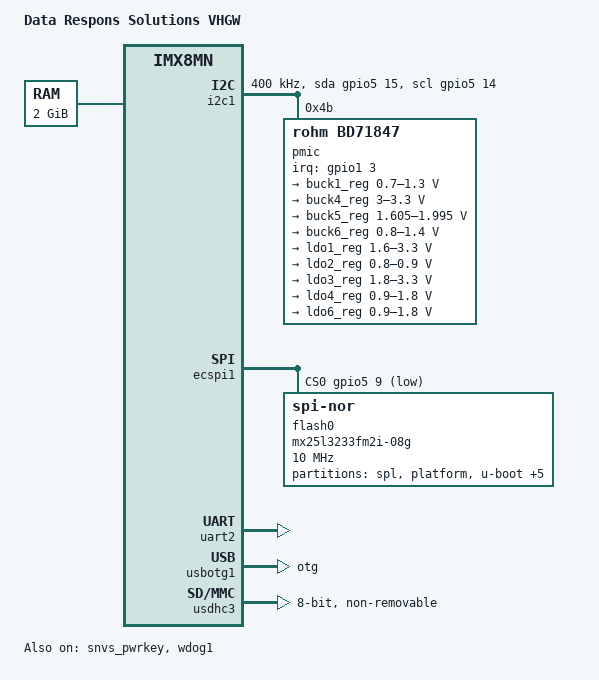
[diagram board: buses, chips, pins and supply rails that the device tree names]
// SPDX-License-Identifier: GPL-2.0+
 /*
  * Copyright 2020 NXP
  */

/dts-v1/;

#include <dt-bindings/interrupt-controller/irq.h>
#include "imx8mn.dtsi"

/ {
	model = "Data Respons Solutions VHGW";
	compatible = "drs,vhgw", "fsl,imx8mn";

	aliases {
		spi0 = &ecspi1;
	};

	chosen {
		stdout-path = &uart2;
	};

	memory@40000000 {
		device_type = "memory";
		reg = <0x0 0x40000000 0 0x80000000>;
	};
};

&A53_0 {
	cpu-supply = <&buck1_reg>;
};

&A53_1 {
	cpu-supply = <&buck1_reg>;
};

&A53_2 {
	cpu-supply = <&buck1_reg>;
};

&A53_3 {
	cpu-supply = <&buck1_reg>;
};

&i2c1 {
	clock-frequency = <400000>;
	pinctrl-names = "default", "gpio";
	pinctrl-0 = <&pinctrl_i2c1>;
	pinctrl-1 = <&pinctrl_i2c1_gpio>;
	scl-gpios = <&gpio5 14 GPIO_ACTIVE_HIGH>;
	sda-gpios = <&gpio5 15 GPIO_ACTIVE_HIGH>;
	status = "okay";

	pmic: bd71850@4b {
		compatible = "rohm,bd71847";
		reg = <0x4b>;
		pinctrl-names = "default";
		pinctrl-0 = <&pinctrl_pmic>;
		interrupt-parent = <&gpio1>;
		interrupts = <3 IRQ_TYPE_EDGE_FALLING>;
		rohm,reset-snvs-powered;

		#clock-cells = <0>;
		clocks = <&osc_32k 0>;
		clock-output-names = "clk-32k-out";

		regulators {
			buck1_reg: BUCK1 {
				regulator-name = "buck1";
				regulator-min-microvolt = <700000>;
				regulator-max-microvolt = <1300000>;
				regulator-boot-on;
				regulator-always-on;
				regulator-ramp-delay = <1250>;
			};
			/*
			buck2_reg: BUCK2 {
				regulator-name = "buck2";
				regulator-min-microvolt = <700000>;
				regulator-max-microvolt = <1300000>;
				regulator-boot-on;
				regulator-always-on;
				regulator-ramp-delay = <1250>;
			};

			buck3_reg: BUCK3 {
				// BUCK5 in datasheet
				regulator-name = "buck3";
				regulator-min-microvolt = <700000>;
				regulator-max-microvolt = <1350000>;
			};
			 */
			buck4_reg: BUCK4 {
				// BUCK6 in datasheet
				regulator-name = "buck4";
				regulator-min-microvolt = <3000000>;
				regulator-max-microvolt = <3300000>;
				regulator-boot-on;
				regulator-always-on;
			};

			buck5_reg: BUCK5 {
				// BUCK7 in datasheet
				regulator-name = "buck5";
				regulator-min-microvolt = <1605000>;
				regulator-max-microvolt = <1995000>;
				regulator-boot-on;
				regulator-always-on;
			};

			buck6_reg: BUCK6 {
				// BUCK8 in datasheet
				regulator-name = "buck6";
				regulator-min-microvolt = <800000>;
				regulator-max-microvolt = <1400000>;
				regulator-boot-on;
				regulator-always-on;
			};

			ldo1_reg: LDO1 {
				regulator-name = "ldo1";
				regulator-min-microvolt = <1600000>;
				regulator-max-microvolt = <3300000>;
				regulator-boot-on;
				regulator-always-on;
			};

			ldo2_reg: LDO2 {
				regulator-name = "ldo2";
				regulator-min-microvolt = <800000>;
				regulator-max-microvolt = <900000>;
				regulator-boot-on;
				regulator-always-on;
			};

			ldo3_reg: LDO3 {
				regulator-name = "ldo3";
				regulator-min-microvolt = <1800000>;
				regulator-max-microvolt = <3300000>;
				regulator-boot-on;
				regulator-always-on;
			};

			ldo4_reg: LDO4 {
				regulator-name = "ldo4";
				regulator-min-microvolt = <900000>;
				regulator-max-microvolt = <1800000>;
				regulator-boot-on;
				regulator-always-on;
			};

			ldo6_reg: LDO6 {
				regulator-name = "ldo6";
				regulator-min-microvolt = <900000>;
				regulator-max-microvolt = <1800000>;
				regulator-boot-on;
				regulator-always-on;
			};
		};
	};
};

&ecspi1 {
	cs-gpios = <&gpio5 9 GPIO_ACTIVE_LOW>;
	pinctrl-names = "default";
	pinctrl-0 = <&pinctrl_ecspi1>;
	status = "okay";

	flash0: mx25l3233fm2i-08g@0 {
		reg = <0>;
		#address-cells = <1>;
		#size-cells = <1>;
		compatible = "jedec,spi-nor";
		spi-max-frequency = <10000000>;

		partitions {
			compatible = "fixed-partitions";
			#address-cells = <1>;
			#size-cells = <1>;

			spl@0 {
				label = "spl";
				reg = <0x000000 0x040000>;
			};

			platform@40000 {
				label = "platform";
				reg = <0x040000 0x010000>;
				read-only;
			};

			u-boot@50000 {
				label = "u-boot";
				reg = <0x050000 0x1A0000>;
			};

			u-boot-second@1F0000 {
				label = "u-boot-second";
				reg = <0x1F0000 0x1A0000>;
			};

			system_a@390000 {
				label = "system_a";
				reg = <0x390000 0x010000>;
			};

			system_b@3A0000 {
				label = "system_b";
				reg = <0x3A0000 0x010000>;
			};

			user_a@3B0000 {
				label = "user_a";
				reg = <0x3B0000 0x010000>;
			};

			user_b@3C0000 {
				label = "user_b";
				reg = <0x3C0000 0x010000>;
			};
		};
	};
};

&snvs_pwrkey {
	status = "okay";
};

&uart2 { /* console */
	pinctrl-names = "default";
	pinctrl-0 = <&pinctrl_uart2>;
	status = "okay";
};

&usbotg1 {
	dr_mode = "otg";
	hnp-disable;
	srp-disable;
	adp-disable;
	usb-role-switch;
	disable-over-current;
	status = "okay";
};

&usdhc3 {
	assigned-clocks = <&clk IMX8MN_CLK_USDHC3_ROOT>;
	assigned-clock-rates = <400000000>;
	pinctrl-names = "default", "state_100mhz", "state_200mhz";
	pinctrl-0 = <&pinctrl_usdhc3>;
	pinctrl-1 = <&pinctrl_usdhc3_100mhz>;
	pinctrl-2 = <&pinctrl_usdhc3_200mhz>;
	bus-width = <8>;
	non-removable;
	status = "okay";
};

&wdog1 {
	pinctrl-names = "default";
	pinctrl-0 = <&pinctrl_wdog>;
	fsl,ext-reset-output;
	status = "okay";
};

&iomuxc {
	pinctrl_i2c1: i2c1grp {
		fsl,pins = <
			MX8MN_IOMUXC_I2C1_SCL_I2C1_SCL		0x400001c3 /* I2C1_SCL */
			MX8MN_IOMUXC_I2C1_SDA_I2C1_SDA		0x400001c3 /* I2C1_SDA */
		>;
	};

	pinctrl_i2c1_gpio: i2c1gpiogrp {
		fsl,pins = <
			MX8MN_IOMUXC_I2C1_SCL_GPIO5_IO14	0x1c3 /* I2C1_SCL */
			MX8MN_IOMUXC_I2C1_SDA_GPIO5_IO15	0x1c3 /* I2C1_SDA */
		>;
	};

	pinctrl_pmic: pmicirqgrp {
		fsl,pins = <
			MX8MN_IOMUXC_GPIO1_IO03_GPIO1_IO3	0x140 /* PMIC_nINT */
		>;
	};


	pinctrl_uart2: uart2grp {
		fsl,pins = <
			MX8MN_IOMUXC_SAI3_TXFS_UART2_DCE_RX			0x0 /* UART_TXD-CPU */
			MX8MN_IOMUXC_SAI3_TXC_UART2_DCE_TX			0x80 /* UART_RXD-CPU */
		>;
	};

	pinctrl_ecspi1: ecspi1grp {
		fsl,pins = <
			MX8MN_IOMUXC_ECSPI1_SCLK_ECSPI1_SCLK	0x94 /* ECSPI1_SCLK-Flash */
			MX8MN_IOMUXC_ECSPI1_MISO_ECSPI1_MISO	0x94 /* ECSPI1_MISO-Flash */
			MX8MN_IOMUXC_ECSPI1_MOSI_ECSPI1_MOSI	0x94 /* ECSPI1_MOSI-Flash */
			MX8MN_IOMUXC_ECSPI1_SS0_GPIO5_IO9		0x0 /* ECSPI1_SS0-Flash */
		>;
	};

	pinctrl_usdhc3: usdhc3grp {
		fsl,pins = <
			MX8MN_IOMUXC_NAND_CE1_B_USDHC3_STROBE	0x90 /* SD-STROBE-eMMC */
			MX8MN_IOMUXC_NAND_CE2_B_USDHC3_DATA5	0x1d0 /* SD-D5-eMMC */
			MX8MN_IOMUXC_NAND_CE3_B_USDHC3_DATA6	0x1d0 /* SD-D6-eMMC */
			MX8MN_IOMUXC_NAND_CLE_USDHC3_DATA7		0x1d0 /* SD-D7-eMMC */
			MX8MN_IOMUXC_NAND_RE_B_USDHC3_DATA4		0x1d0 /* SD-D4-eMMC */
			MX8MN_IOMUXC_NAND_WE_B_USDHC3_CLK		0x40000090 /* SD-CLK-eMMC */
			MX8MN_IOMUXC_NAND_WP_B_USDHC3_CMD		0x1d0 /* SD-CMD-eMMC */
			MX8MN_IOMUXC_NAND_DATA04_USDHC3_DATA0	0x1d0 /* SD-D0-eMMC */
			MX8MN_IOMUXC_NAND_DATA05_USDHC3_DATA1	0x1d0 /* SD-D1-eMMC */
			MX8MN_IOMUXC_NAND_DATA06_USDHC3_DATA2	0x1d0 /* SD-D2-eMMC */
			MX8MN_IOMUXC_NAND_DATA07_USDHC3_DATA3	0x1d0 /* SD-D3-eMMC */
		>;
	};

	pinctrl_usdhc3_100mhz: usdhc3-100mhzgrp {
		fsl,pins = <
			MX8MN_IOMUXC_NAND_CE1_B_USDHC3_STROBE	0x94 /* SD-STROBE-eMMC */
			MX8MN_IOMUXC_NAND_CE2_B_USDHC3_DATA5	0x1d4 /* SD-D5-eMMC */
			MX8MN_IOMUXC_NAND_CE3_B_USDHC3_DATA6	0x1d4 /* SD-D6-eMMC */
			MX8MN_IOMUXC_NAND_CLE_USDHC3_DATA7		0x1d4 /* SD-D7-eMMC */
			MX8MN_IOMUXC_NAND_RE_B_USDHC3_DATA4		0x1d4 /* SD-D4-eMMC */
			MX8MN_IOMUXC_NAND_WE_B_USDHC3_CLK		0x40000094 /* SD-CLK-eMMC */
			MX8MN_IOMUXC_NAND_WP_B_USDHC3_CMD		0x1d4 /* SD-CMD-eMMC */
			MX8MN_IOMUXC_NAND_DATA04_USDHC3_DATA0	0x1d4 /* SD-D0-eMMC */
			MX8MN_IOMUXC_NAND_DATA05_USDHC3_DATA1	0x1d4 /* SD-D1-eMMC */
			MX8MN_IOMUXC_NAND_DATA06_USDHC3_DATA2	0x1d4 /* SD-D2-eMMC */
			MX8MN_IOMUXC_NAND_DATA07_USDHC3_DATA3	0x1d4 /* SD-D3-eMMC */
		>;
	};

	pinctrl_usdhc3_200mhz: usdhc3-200mhzgrp {
		fsl,pins = <
			MX8MN_IOMUXC_NAND_CE1_B_USDHC3_STROBE	0x96 /* SD-STROBE-eMMC */
			MX8MN_IOMUXC_NAND_CE2_B_USDHC3_DATA5	0x1d6 /* SD-D5-eMMC */
			MX8MN_IOMUXC_NAND_CE3_B_USDHC3_DATA6	0x1d6 /* SD-D6-eMMC */
			MX8MN_IOMUXC_NAND_CLE_USDHC3_DATA7		0x1d6 /* SD-D7-eMMC */
			MX8MN_IOMUXC_NAND_RE_B_USDHC3_DATA4		0x1d6 /* SD-D4-eMMC */
			MX8MN_IOMUXC_NAND_WE_B_USDHC3_CLK		0x40000096 /* SD-CLK-eMMC */
			MX8MN_IOMUXC_NAND_WP_B_USDHC3_CMD		0x1d6 /* SD-CMD-eMMC */
			MX8MN_IOMUXC_NAND_DATA04_USDHC3_DATA0	0x1d6 /* SD-D0-eMMC */
			MX8MN_IOMUXC_NAND_DATA05_USDHC3_DATA1	0x1d6 /* SD-D1-eMMC */
			MX8MN_IOMUXC_NAND_DATA06_USDHC3_DATA2	0x1d6 /* SD-D2-eMMC */
			MX8MN_IOMUXC_NAND_DATA07_USDHC3_DATA3	0x1d6 /* SD-D3-eMMC */
		>;
	};

	pinctrl_wdog: wdoggrp {
		fsl,pins = <
			MX8MN_IOMUXC_GPIO1_IO02_WDOG1_WDOG_B	0x166 /* WDOG_B */
		>;
	};
};
